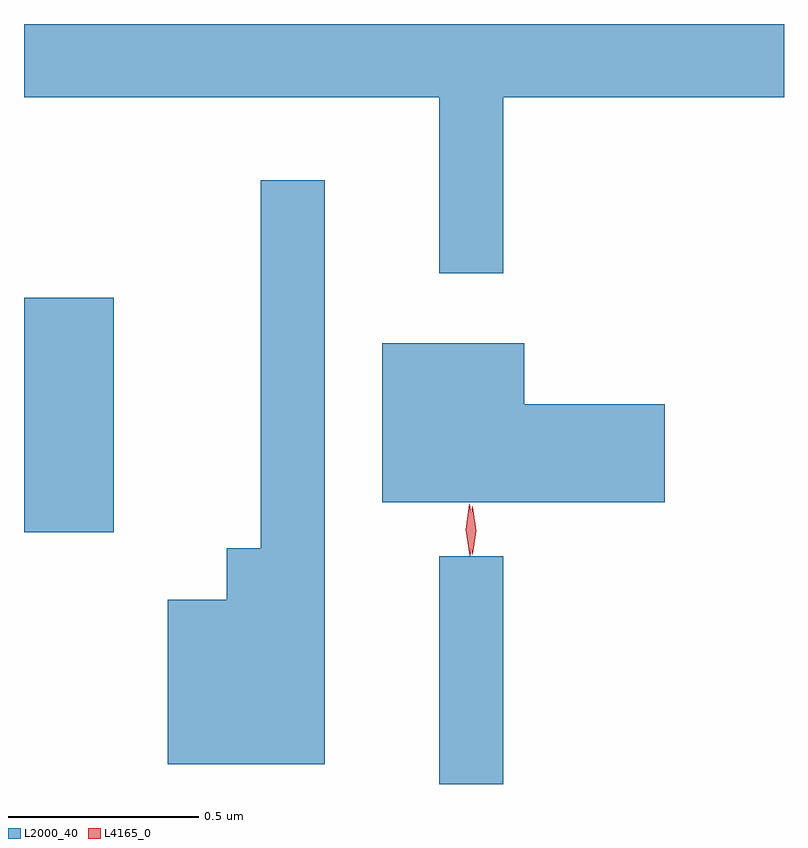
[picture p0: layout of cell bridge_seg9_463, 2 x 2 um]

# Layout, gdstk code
import gdstk
lib = gdstk.Library(unit=1e-6, precision=1e-09)
def R(c, l, rs):  # rectangles x0, y0, x1, y1
    for r in rs: c.add(gdstk.rectangle(r[:2], r[2:], *l))
def P(c, l, *ps):  # polygons
    for p in ps: c.add(gdstk.Polygon(p, *l))
L2000_40 = (2000, 40)
L4165_0 = (4165, 0)

bridge_seg9_463 = lib.new_cell('bridge_seg9_463')
R(bridge_seg9_463, L2000_40, [(388.431,2034.409,388.599,2035.008), (387.338,2035.071,387.574,2035.689)])
P(bridge_seg9_463, L2000_40, [(388.599,2036.216),(389.338,2036.216),(389.338,2036.409),(387.338,2036.409),(387.338,2036.216),(388.431,2036.216),(388.431,2035.753),(388.599,2035.753)],
  [(388.129,2035.998),(387.961,2035.998),(387.961,2035.029),(387.871,2035.029),(387.871,2034.894),(387.716,2034.894),(387.716,2034.461),(388.129,2034.461)],
  [(389.024,2035.409),(388.654,2035.409),(388.654,2035.569),(388.281,2035.569),(388.281,2035.151),(389.024,2035.151)])
P(bridge_seg9_463, L4165_0, [(388.511,2035.01),(388.511,2035.01),(388.501,2035.078),(388.51,2035.145),(388.51,2035.146),(388.511,2035.145),(388.521,2035.078),(388.512,2035.01)],
  [(388.518,2035.013),(388.518,2035.013),(388.508,2035.076),(388.518,2035.139),(388.518,2035.14),(388.519,2035.139),(388.528,2035.076),(388.519,2035.013)])

lib.write_gds('bridge_seg9_463.gds')
